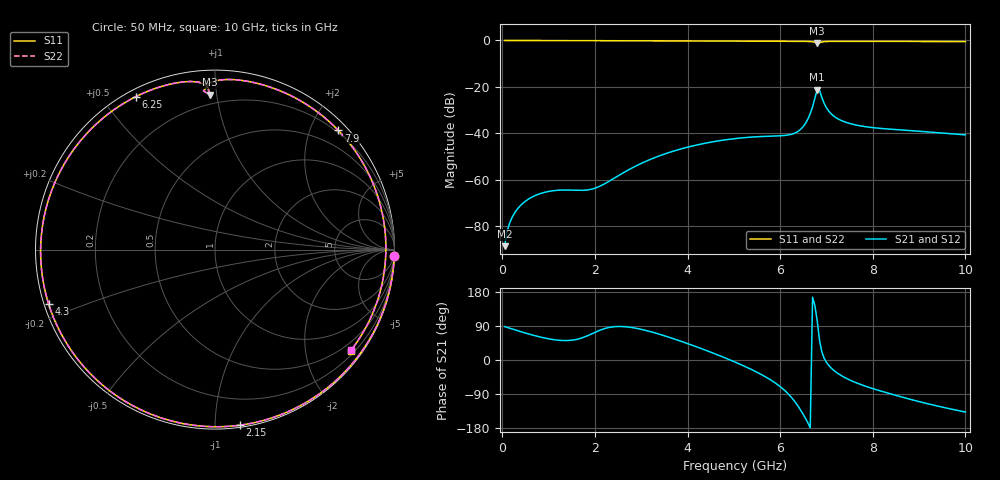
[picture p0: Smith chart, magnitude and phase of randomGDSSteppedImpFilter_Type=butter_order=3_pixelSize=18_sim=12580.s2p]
! freq	dB(S11)	phase(S11)	dB(S12)	phase(S12)
!  dB(S21)	phase(S21)	dB(S22)	phase(S22)
!S-par simulation data
#  GHz  S  DB  R 50
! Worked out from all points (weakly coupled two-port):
!   200 points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, 50 MHz to 10 GHz, reference 50 ohm
!   highest |S21| = -21.17 dB at 6.8 GHz (marker M1); lowest = -88.7 dB at 50 MHz (marker M2)
!   lowest |S11| = -1.3 dB at 6.8 GHz (marker M3), VSWR 13.64, Z = 7.06 + j47.9 ohm
!   |S11| at or under -10 dB: nowhere
!   |S22| runs from -1.3 to 0.0 dB; largest |S21 - S12| = 0
!   S11 on the Smith chart (normalised r, x): 50 MHz: 1, -58; 2.15 GHz: 0.01, -1.15; 4.3 GHz: 0.01, -0.16; 6.25 GHz: 0.03, +0.61; 7.9 GHz: 0.16, +2.47; 10 GHz: 0.30, -2.99
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0.05  -0.00 -2.0  -88.68 88.1  -88.68 88.1  -0.00 -2.0
0.15  -0.01 -5.9  -79.20 84.3  -79.20 84.3  -0.01 -5.9
0.4  -0.02 -15.6  -71.01 74.7  -71.01 74.7  -0.02 -15.6
0.7  -0.03 -27.2  -66.94 64.3  -66.94 64.3  -0.03 -27.2
1.75  -0.09 -67.1  -64.60 59.6  -64.60 59.6  -0.09 -67.1
2.15  -0.10 -82.0  -62.41 80.5  -62.41 80.5  -0.10 -82.0
2.75  -0.13 -104.2  -55.52 86.5  -55.52 86.5  -0.13 -104.1
3.4  -0.16 -128.1  -49.69 67.8  -49.69 67.8  -0.16 -128.0
4.3  -0.22 -161.8  -44.63 30.0  -44.63 30.0  -0.22 -161.7
5.05  -0.27 168.8  -42.25 -6.7  -42.25 -6.7  -0.27 168.9
5.65  -0.31 143.8  -41.36 -42.1  -41.36 -42.1  -0.31 143.9
6.25  -0.36 117.4  -40.41 -99.6  -40.41 -99.6  -0.36 117.6
6.5  -0.39 105.8  -37.07 -143.9  -37.07 -143.9  -0.39 105.9
6.7  -0.57 95.4  -28.59 165.7  -28.59 165.7  -0.56 95.6
6.8  -1.28 91.9  -21.17 104.0  -21.17 104.0  -1.26 92.0
6.85  -1.06 94.1  -21.54 52.5  -21.54 52.5  -1.05 94.2
7  -0.44 86.0  -29.05 -6.2  -29.05 -6.2  -0.44 86.1
7.15  -0.40 78.4  -32.49 -26.5  -32.49 -26.5  -0.40 78.5
7.9  -0.40 44.0  -37.34 -71.5  -37.34 -71.5  -0.40 44.1
8.35  -0.40 24.6  -38.20 -88.2  -38.20 -88.2  -0.40 24.7
9.1  -0.43 -5.3  -39.29 -112.9  -39.29 -112.9  -0.43 -5.2
10  -0.51 -36.6  -40.70 -137.4  -40.70 -137.4  -0.51 -36.6
